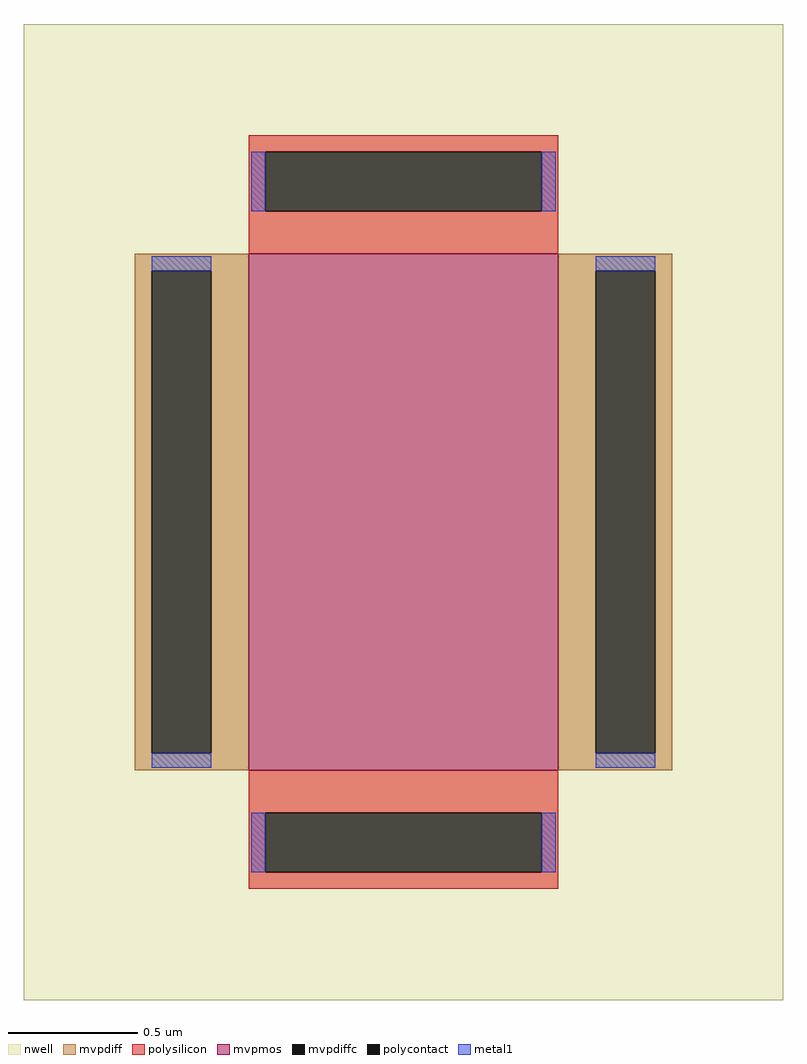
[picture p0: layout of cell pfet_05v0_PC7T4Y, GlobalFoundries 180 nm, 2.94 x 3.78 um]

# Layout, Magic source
magic
tech gf180mcuD
magscale 1 10
<< nwell >>
rect -294 -378 294 378
<< mvpmos >>
rect -120 -200 120 200
<< mvpdiff >>
rect -208 187 -120 200
rect -208 -187 -195 187
rect -149 -187 -120 187
rect -208 -200 -120 -187
rect 120 187 208 200
rect 120 -187 149 187
rect 195 -187 208 187
rect 120 -200 208 -187
<< mvpdiffc >>
rect -195 -187 -149 187
rect 149 -187 195 187
<< polysilicon >>
rect -120 279 120 292
rect -120 233 -107 279
rect 107 233 120 279
rect -120 200 120 233
rect -120 -233 120 -200
rect -120 -279 -107 -233
rect 107 -279 120 -233
rect -120 -292 120 -279
<< polycontact >>
rect -107 233 107 279
rect -107 -279 107 -233
<< metal1 >>
rect -118 233 -107 279
rect 107 233 118 279
rect -195 187 -149 198
rect -195 -198 -149 -187
rect 149 187 195 198
rect 149 -198 195 -187
rect -118 -279 -107 -233
rect 107 -279 118 -233
<< properties >>
string gencell pfet_05v0
string library gf180mcu
string parameters w 2 l 1.2 m 1 nf 1 diffcov 100 polycov 100 guard 0 glc 0 grc 0 gtc 0 gbc 0 tbcov 100 rlcov 100 topc 0 botc 0 poverlap 1 doverlap 1 lmin 0.5 wmin 0.3 class mosfet full_metal 0 compatible {pfet_03v3 pfet_05v0 pfet_06v0}
<< end >>
